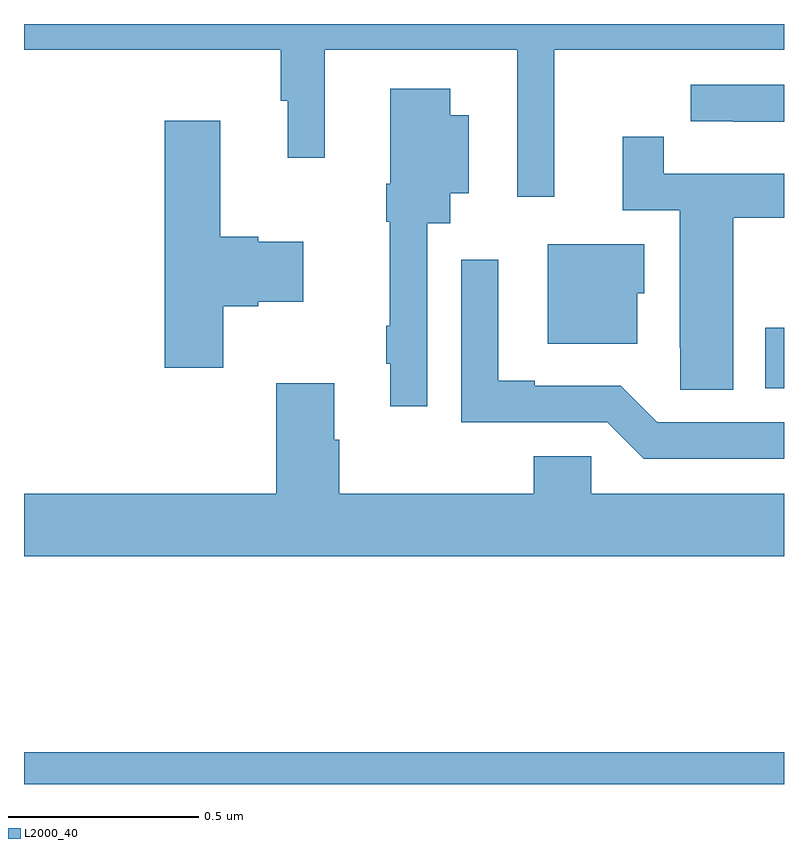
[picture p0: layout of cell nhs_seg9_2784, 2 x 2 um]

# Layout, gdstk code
import gdstk
lib = gdstk.Library(unit=1e-6, precision=1e-09)
def R(c, l, rs):  # rectangles x0, y0, x1, y1
    for r in rs: c.add(gdstk.rectangle(r[:2], r[2:], *l))
def P(c, l, *ps):  # polygons
    for p in ps: c.add(gdstk.Polygon(p, *l))
L2000_40 = (2000, 40)

nhs_seg9_2784 = lib.new_cell('nhs_seg9_2784')
R(nhs_seg9_2784, L2000_40, [(145,1182.5,147,1182.584), (146.951,1183.541,147,1183.701)])
P(nhs_seg9_2784, L2000_40, [(146.396,1184.432),(147,1184.432),(147,1184.5),(145,1184.5),(145,1184.432),(145.675,1184.432),(145.675,1184.298),(145.694,1184.298),(145.694,1184.148),(145.792,1184.148),(145.792,1184.432),(146.298,1184.432),(146.298,1184.046),(146.396,1184.046)],
  [(147,1184.34),(146.754,1184.34),(146.754,1184.244),(146.866,1184.244),(146.866,1184.243),(147,1184.243)],
  [(146.061,1183.976),(146.122,1183.976),(146.122,1184.054),(146.17,1184.054),(146.17,1184.26),(146.122,1184.26),(146.122,1184.329),(145.964,1184.329),(145.964,1184.08),(145.953,1184.08),(145.953,1183.98),(145.963,1183.98),(145.963,1183.706),(145.953,1183.706),(145.953,1183.606),(145.964,1183.606),(145.964,1183.494),(146.061,1183.494)],
  [(145.524,1183.757),(145.617,1183.757),(145.617,1183.769),(145.735,1183.769),(145.735,1183.927),(145.617,1183.927),(145.617,1183.94),(145.516,1183.94),(145.516,1184.245),(145.37,1184.245),(145.37,1183.596),(145.524,1183.596)],
  [(146.866,1183.99),(147,1183.99),(147,1184.106),(146.684,1184.106),(146.684,1184.203),(146.576,1184.203),(146.576,1184.01),(146.726,1184.01),(146.726,1183.648),(146.727,1183.648),(146.727,1183.537),(146.866,1183.537)],
  [(146.614,1183.791),(146.632,1183.791),(146.632,1183.921),(146.378,1183.921),(146.378,1183.658),(146.614,1183.658)],
  [(147,1183.452),(146.667,1183.452),(146.571,1183.548),(146.344,1183.548),(146.344,1183.561),(146.248,1183.561),(146.248,1183.879),(146.151,1183.879),(146.151,1183.452),(146.535,1183.452),(146.631,1183.356),(147,1183.356)],
  [(147,1183.264),(146.493,1183.264),(146.493,1183.362),(146.342,1183.362),(146.342,1183.264),(145.829,1183.264),(145.829,1183.406),(145.816,1183.406),(145.816,1183.555),(145.664,1183.555),(145.664,1183.264),(145,1183.264),(145,1183.1),(147,1183.1)])

lib.write_gds('nhs_seg9_2784.gds')
